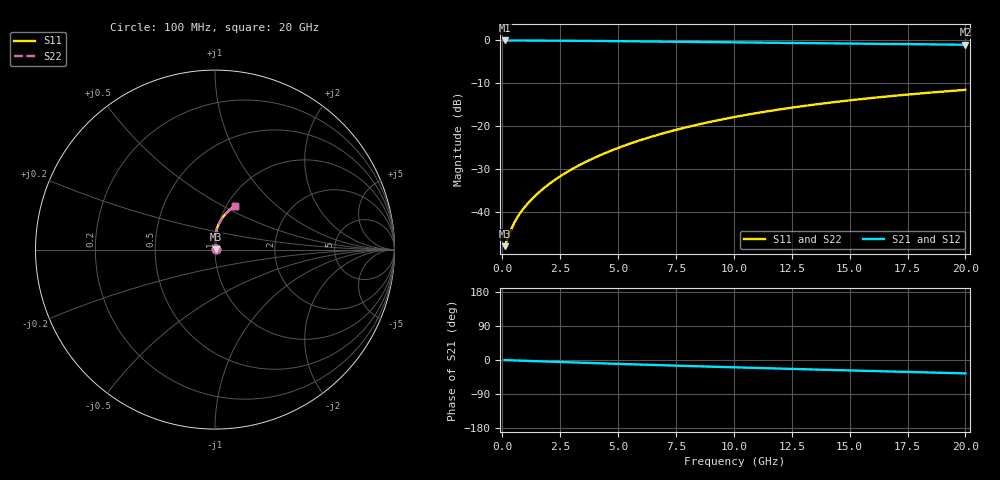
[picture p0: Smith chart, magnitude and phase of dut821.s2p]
! Touchstone file exported from HFSS 2024.1.0
!  File:  C:/UserFiles/LocalFiles/RDL_TSV_Batchsim/temp_RDL_top_821_1779854511.aedt
!  Generated:  12:04:11 PM May 27, 2026
!  Design:  RDL_top
!  Project:  temp_RDL_top_821_1779854511
!  Setup:  Setup1
!  Solution:  Sweep
! Variables:
!  dtsv = 10.80580581um
!  hbump = 3um
!  htsv = 63.95um
!  ldown = 100um
!  lrdl = 544.61um
!  p = 40
!  p1 = 42.45um
!  rhole = 1um
!  t = 450um
!  tdown = 3.915915916um
!  trdl = 2.16um
!  wdown = 15.38538539um
!  wrdl = 26.42um
# GHz S MA R 50.000000
! Terminal data exported
! Port[1] = Box2_T1
! Port[2] = Box2_T2
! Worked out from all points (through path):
!   200 points, 100 MHz to 20 GHz, reference 50 ohm
!   highest |S21| = -0.03 dB at 100 MHz (marker M1); lowest = -1.0 dB at 20 GHz (marker M2)
!   group delay of S21, straight-line fit = 4.85 ps
!   lowest |S11| = -48.0 dB at 100 MHz (marker M3), VSWR 1.01, Z = 50.4 + j0.129 ohm
!   |S11| at or under -10 dB: start of sweep to end of sweep
!   |S22| runs from -48.0 to -11.6 dB; largest |S21 - S12| = 5.2e-15
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0.1  0.003959 18.8  0.9962 -0.2  0.9962 -0.2  0.003959 18.8
! Gamma 0 0 0 0
! Port Impedance 50 0 50 0
0.4  0.006368 48.2  0.9956 -0.9  0.9956 -0.9  0.006368 48.2
0.5  0.007266 52.6  0.9953 -1.1  0.9953 -1.1  0.007266 52.6
0.6  0.008148 56.1  0.9951 -1.3  0.9951 -1.3  0.008148 56.1
0.7  0.009016 58.9  0.9948 -1.5  0.9948 -1.5  0.009016 58.9
0.9  0.01074 63.6  0.9943 -2.0  0.9943 -2.0  0.01074 63.6
1.2  0.01335 69.0  0.9936 -2.6  0.9936 -2.6  0.01335 68.9
1.7  0.01792 75.3  0.9924 -3.6  0.9924 -3.6  0.01792 75.3
2.2  0.02281 79.6  0.9908 -4.7  0.9908 -4.7  0.02281 79.6
2.8  0.02907 83.1  0.9886 -5.9  0.9886 -5.9  0.02907 83.1
3.5  0.0369 85.7  0.9856 -7.3  0.9856 -7.3  0.03689 85.7
4.2  0.04526 87.3  0.9822 -8.7  0.9822 -8.7  0.04526 87.2
5  0.05541 88.1  0.9779 -10.3  0.9779 -10.3  0.0554 88.1
5.9  0.06747 88.3  0.9727 -12.0  0.9727 -12.0  0.06745 88.3
6.8  0.08005 87.9  0.9672 -13.6  0.9672 -13.6  0.08003 87.9
8.4  0.1033 86.2  0.9573 -16.5  0.9573 -16.5  0.1032 86.1
10.1  0.1284 83.5  0.9467 -19.5  0.9467 -19.5  0.1284 83.5
11.7  0.1521 80.7  0.9368 -22.2  0.9368 -22.2  0.152 80.7
13.4  0.1767 77.6  0.9265 -25.0  0.9265 -25.0  0.1766 77.6
15  0.1992 74.6  0.917 -27.6  0.917 -27.6  0.1991 74.6
16.7  0.2223 71.5  0.907 -30.3  0.907 -30.3  0.2222 71.4
20  0.2642 65.6  0.8879 -35.3  0.8879 -35.3  0.264 65.5
